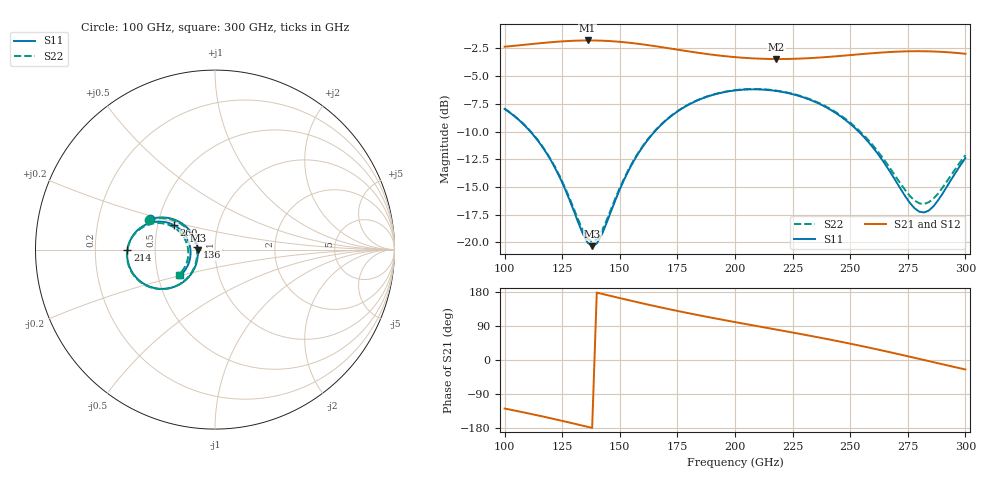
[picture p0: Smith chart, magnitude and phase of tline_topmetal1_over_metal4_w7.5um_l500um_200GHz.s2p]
#  GHZ S DB R 50
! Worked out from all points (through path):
!   101 points, 100 GHz to 300 GHz, reference 50 ohm
!   highest |S21| = -1.78 dB at 136 GHz (marker M1); lowest = -3.5 dB at 218 GHz (marker M2)
!   group delay of S21, straight-line fit = 3.48 ps
!   lowest |S11| = -20.3 dB at 138 GHz (marker M3), VSWR 1.21, Z = 41.2 - j0.41 ohm
!   |S11| at or under -10 dB: 111.2 GHz to 165.1 GHz (53.94 GHz wide, 39 % of centre); 253.7 GHz to end of sweep
!   |S22| runs from -19.9 to -6.2 dB; largest |S21 - S12| = 1.3e-15
!   S11 on the Smith chart (normalised r, x): 100 GHz: 0.45, +0.18; 136 GHz: 0.82, +0.03; 214 GHz: 0.34, -0.00; 260 GHz: 0.61, +0.18; 300 GHz: 0.65, -0.20
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100  -7.95 155.2  -2.34 -128.1  -2.34 -128.1  -7.93 155.9
110  -9.72 146.9  -2.14 -140.5  -2.14 -140.5  -9.69 147.9
118  -11.88 142.3  -1.98 -151.0  -1.98 -151.0  -11.82 143.4
126  -15.07 142.9  -1.85 -162.0  -1.85 -162.0  -14.94 144.5
134  -19.23 161.2  -1.78 -173.5  -1.78 -173.5  -18.92 162.6
136  -20.01 171.2  -1.78 -176.3  -1.78 -176.3  -19.63 172.2
138  -20.33 -177.1  -1.78 -179.3  -1.78 -179.3  -19.93 -176.6
142  -19.38 -154.8  -1.80 174.9  -1.80 174.9  -19.05 -155.4
156  -12.67 -133.8  -2.03 154.8  -2.03 154.8  -12.59 -134.3
168  -9.38 -140.4  -2.38 138.5  -2.38 138.5  -9.34 -140.5
182  -7.35 -152.3  -2.83 120.9  -2.83 120.9  -7.32 -152.1
200  -6.29 -168.1  -3.28 100.1  -3.28 100.1  -6.26 -167.5
214  -6.24 -179.9  -3.44 84.6  -3.44 84.6  -6.21 -179.1
218  -6.34 176.7  -3.45 80.2  -3.45 80.2  -6.30 177.6
234  -7.25 163.9  -3.35 62.3  -3.35 62.3  -7.20 165.2
248  -8.96 154.1  -3.14 45.6  -3.14 45.6  -8.87 155.8
260  -11.46 149.2  -2.92 30.3  -2.92 30.3  -11.28 151.6
268  -13.85 151.6  -2.81 19.5  -2.81 19.5  -13.51 154.4
276  -16.45 165.0  -2.75 8.5  -2.75 8.5  -15.83 167.2
282  -17.29 -175.6  -2.75 0.1  -2.75 0.1  -16.53 -175.3
288  -16.24 -156.9  -2.79 -8.4  -2.79 -8.4  -15.62 -158.4
300  -12.38 -143.3  -2.98 -25.0  -2.98 -25.0  -12.12 -145.1
